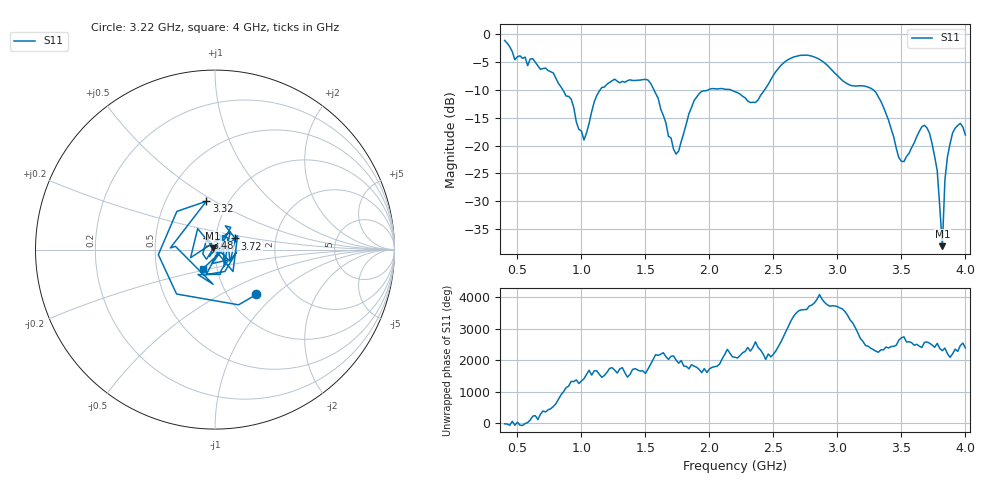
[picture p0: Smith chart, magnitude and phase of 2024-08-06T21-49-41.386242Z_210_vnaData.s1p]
!Created with skrf (http://scikit-rf.org).
# Hz S RI R 50.0
!freq ReS11 ImS11
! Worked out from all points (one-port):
!   181 points, 400 MHz to 4 GHz, reference 50 ohm
!   lowest |S11| = -38.1 dB at 3.82 GHz (marker M1), VSWR 1.03, Z = 48.9 + j0.606 ohm
!   |S11| at or under -10 dB: 855 MHz to 1.147 GHz (291.6 MHz wide, 29.1 % of centre); 1.567 GHz to 1.991 GHz (424.5 MHz wide, 23.9 % of centre); 3.281 GHz to end of sweep (the widest 3 of 4)
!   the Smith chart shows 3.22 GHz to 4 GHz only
!   S11 on the Smith chart (normalised r, x): 3.22 GHz: 1.35, -0.76; 3.32 GHz: 0.79, +0.46; 3.48 GHz: 0.91, +0.11; 3.72 GHz: 1.24, +0.16; 4 GHz: 0.86, -0.18
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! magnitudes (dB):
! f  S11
! 400 MHz  -1.1
! 480 MHz  -4.6
! 620 MHz  -4.4
! 860 MHz  -10.2
! 920 MHz  -11.7
! 1.02 GHz  -19.0
! 1.14 GHz  -10.2
! 1.3 GHz  -8.7
! 1.52 GHz  -8.2
! 1.76 GHz  -21.0
! 1.92 GHz  -10.7
! 2.2 GHz  -10.3
! 2.36 GHz  -12.3
! 2.66 GHz  -4.1
! 2.86 GHz  -4.5
! 3.1 GHz  -9.2
! 3.22 GHz  -9.4
! 3.32 GHz  -11.3
! 3.48 GHz  -22.2
! 3.56 GHz  -21.4
! 3.66 GHz  -16.6
! 3.72 GHz  -17.8
! 3.78 GHz  -24.5
! 3.82 GHz  -38.1
! 3.84 GHz  -26.2
! 3.88 GHz  -19.7
! 3.96 GHz  -16.0
! 4 GHz  -18.1
